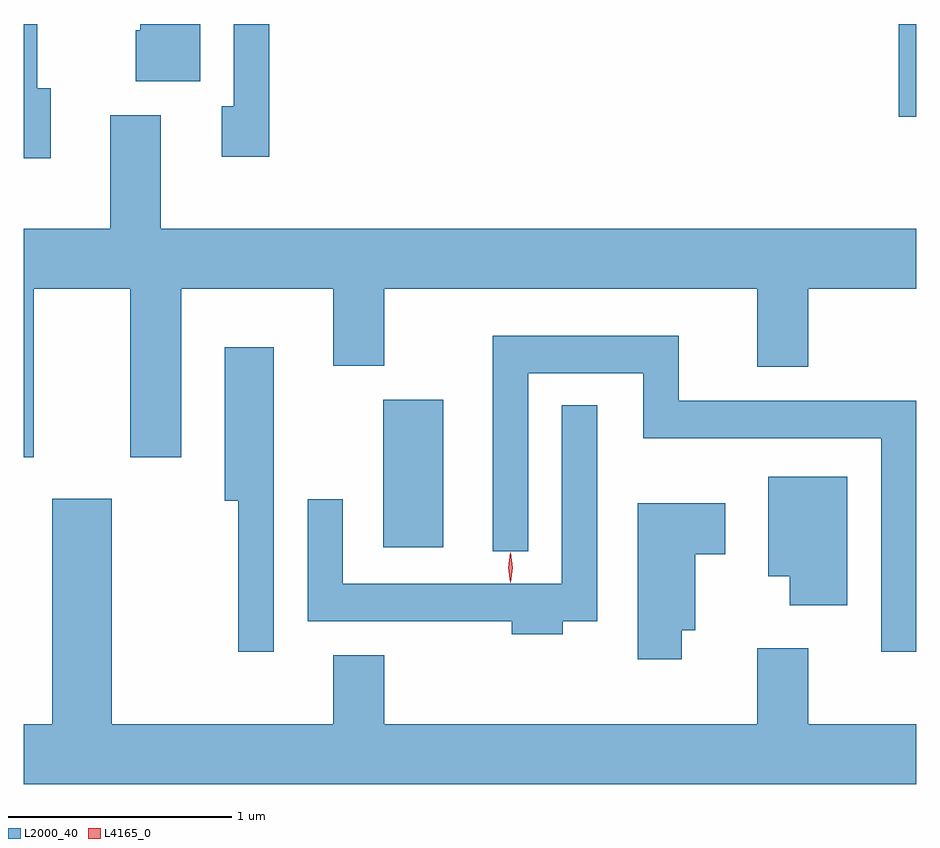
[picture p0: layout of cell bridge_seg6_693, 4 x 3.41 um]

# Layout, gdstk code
import gdstk
lib = gdstk.Library(unit=1e-6, precision=1e-09)
def R(c, l, rs):  # rectangles x0, y0, x1, y1
    for r in rs: c.add(gdstk.rectangle(r[:2], r[2:], *l))
def P(c, l, *ps):  # polygons
    for p in ps: c.add(gdstk.Polygon(p, *l))
L2000_40 = (2000, 40)
L4165_0 = (4165, 0)

bridge_seg6_693 = lib.new_cell('bridge_seg6_693')
R(bridge_seg6_693, L2000_40, [(340.326,1588.836,340.594,1589.499), (342.636,1590.766,342.714,1591.182)])
P(bridge_seg6_693, L2000_40, [(338.834,1590.894),(338.774,1590.894),(338.774,1591.182),(338.714,1591.182),(338.714,1590.581),(338.834,1590.581)],
  [(339.504,1591.182),(339.236,1591.182),(339.236,1591.154),(339.216,1591.154),(339.216,1590.926),(339.504,1590.926)],
  [(339.814,1591.182),(339.656,1591.182),(339.656,1590.814),(339.601,1590.814),(339.601,1590.586),(339.814,1590.586)],
  [(338.759,1589.996),(339.191,1589.996),(339.191,1589.241),(339.419,1589.241),(339.419,1589.996),(340.101,1589.996),(340.101,1589.651),(340.329,1589.651),(340.329,1589.996),(342.001,1589.996),(342.001,1589.646),(342.229,1589.646),(342.229,1589.996),(342.714,1589.996),(342.714,1590.264),(339.329,1590.264),(339.329,1590.774),(339.101,1590.774),(339.101,1590.264),(338.714,1590.264),(338.714,1589.241),(338.759,1589.241)],
  [(342.714,1589.494),(341.649,1589.494),(341.649,1589.784),(340.816,1589.784),(340.816,1588.818),(340.974,1588.818),(340.974,1589.616),(341.491,1589.616),(341.491,1589.326),(342.556,1589.326),(342.556,1588.368),(342.714,1588.368)],
  [(339.834,1589.734),(339.616,1589.734),(339.616,1589.046),(339.676,1589.046),(339.676,1588.368),(339.834,1588.368)],
  [(341.129,1588.506),(341.284,1588.506),(341.284,1589.473),(341.126,1589.473),(341.126,1588.674),(340.144,1588.674),(340.144,1589.053),(339.986,1589.053),(339.986,1588.506),(340.901,1588.506),(340.901,1588.446),(341.129,1588.446)],
  [(342.404,1589.154),(342.051,1589.154),(342.051,1588.706),(342.146,1588.706),(342.146,1588.576),(342.404,1588.576)],
  [(342.714,1588.044),(342.229,1588.044),(342.229,1588.384),(342.001,1588.384),(342.001,1588.044),(340.329,1588.044),(340.329,1588.354),(340.101,1588.354),(340.101,1588.044),(339.109,1588.044),(339.109,1589.054),(338.841,1589.054),(338.841,1588.044),(338.714,1588.044),(338.714,1587.776),(342.714,1587.776)],
  [(341.664,1588.466),(341.724,1588.466),(341.724,1588.806),(341.859,1588.806),(341.859,1589.034),(341.466,1589.034),(341.466,1588.336),(341.664,1588.336)])
P(bridge_seg6_693, L4165_0, [(340.895,1588.679),(340.894,1588.68),(340.885,1588.746),(340.894,1588.812),(340.895,1588.813),(340.896,1588.812),(340.905,1588.746),(340.896,1588.68)])

lib.write_gds('bridge_seg6_693.gds')
